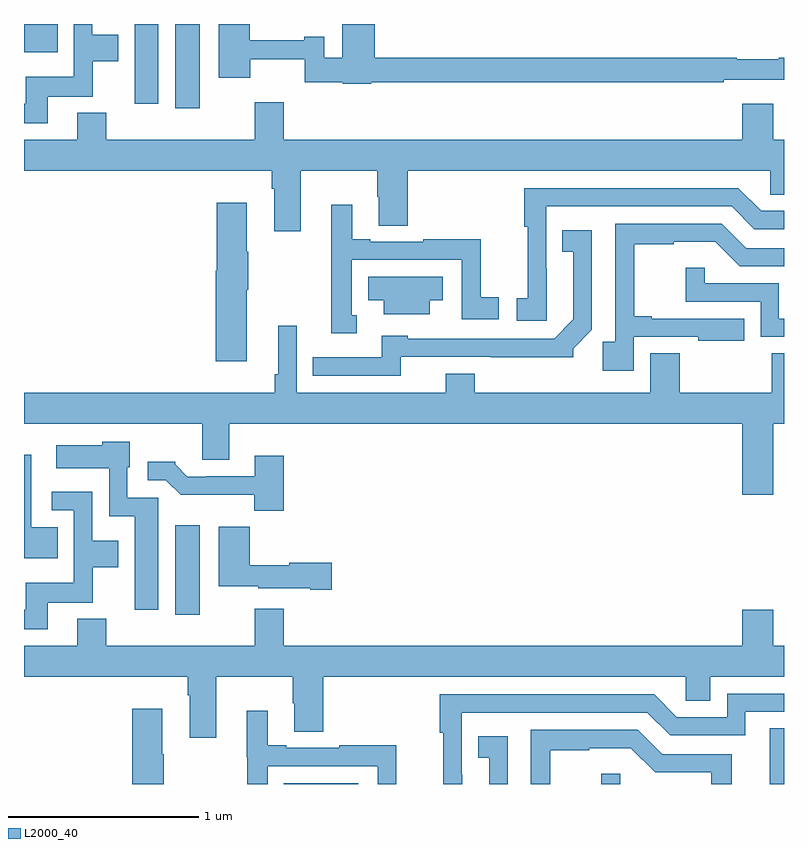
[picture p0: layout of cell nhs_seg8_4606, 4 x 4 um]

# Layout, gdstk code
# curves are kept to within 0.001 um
import gdstk
lib = gdstk.Library(unit=1e-6, precision=1e-09)
def R(c, l, rs):  # rectangles x0, y0, x1, y1
    for r in rs: c.add(gdstk.rectangle(r[:2], r[2:], *l))
def P(c, l, *ps):  # polygons
    for p in ps: c.add(gdstk.Polygon(p, *l))
L2000_40 = (2000, 40)

nhs_seg8_4606 = lib.new_cell('nhs_seg8_4606')
R(nhs_seg8_4606, L2000_40, [(390.367,1151.9,390.76,1151.905), (392.038,1151.9,392.139,1151.953), (389.795,1152.792,389.926,1153.261), (389.795,1155.456,389.926,1155.9), (389.582,1155.48,389.707,1155.9), (389,1155.752,389.177,1155.9)])
P(nhs_seg8_4606, L2000_40, [(390.828,1155.594),(392.684,1155.594),(392.684,1155.606),(393,1155.606),(393,1155.722),(392.973,1155.722),(392.973,1155.715),(392.751,1155.715),(392.751,1155.722),(390.845,1155.722),(390.845,1155.9),(390.674,1155.9),(390.674,1155.722),(390.579,1155.722),(390.579,1155.833),(390.476,1155.833),(390.476,1155.815),(390.188,1155.815),(390.188,1155.9),(390.026,1155.9),(390.026,1155.618),(390.19,1155.618),(390.19,1155.715),(390.478,1155.715),(390.478,1155.594),(390.678,1155.594),(390.678,1155.586),(390.828,1155.586)],
  [(389.125,1155.518),(389.361,1155.518),(389.361,1155.704),(389.497,1155.704),(389.497,1155.844),(389.358,1155.844),(389.358,1155.9),(389.262,1155.9),(389.262,1155.622),(389.009,1155.622),(389.009,1155.48),(389,1155.48),(389,1155.378),(389.125,1155.378)],
  [(390.457,1155.128),(390.859,1155.128),(390.859,1154.99),(390.866,1154.99),(390.866,1154.839),(391.019,1154.839),(391.019,1155.128),(392.928,1155.128),(392.928,1155.001),(393,1155.001),(393,1155.292),(392.944,1155.292),(392.944,1155.481),(392.78,1155.481),(392.78,1155.292),(390.368,1155.292),(390.368,1155.487),(390.215,1155.487),(390.215,1155.292),(389.432,1155.292),(389.432,1155.433),(389.279,1155.433),(389.279,1155.292),(389,1155.292),(389,1155.128),(390.305,1155.128),(390.305,1155.032),(390.317,1155.032),(390.317,1154.808),(390.457,1154.808)],
  [(391.75,1154.612),(391.749,1154.94),(392.724,1154.94),(392.844,1154.82),(393,1154.82),(393,1154.916),(392.88,1154.916),(392.76,1155.036),(391.633,1155.036),(391.633,1154.833),(391.651,1154.833),(391.651,1154.457),(391.593,1154.457),(391.593,1154.337),(391.75,1154.337)],
  [(390.172,1154.501),(390.18,1154.501),(390.18,1154.701),(390.172,1154.701),(390.172,1154.959),(390.014,1154.959),(390.014,1154.601),(390.008,1154.601),(390.008,1154.124),(390.172,1154.124)],
  [(390.751,1154.367),(390.726,1154.367),(390.726,1154.658),(391.305,1154.658),(391.305,1154.346),(391.498,1154.346),(391.498,1154.462),(391.404,1154.462),(391.404,1154.767),(391.102,1154.767),(391.102,1154.754),(390.823,1154.754),(390.823,1154.767),(390.727,1154.767),(390.727,1154.95),(390.617,1154.95),(390.617,1154.705),(390.618,1154.705),(390.618,1154.273),(390.751,1154.273)],
  [(392.208,1154.253),(392.549,1154.253),(392.549,1154.234),(392.792,1154.234),(392.792,1154.349),(392.305,1154.349),(392.305,1154.362),(392.213,1154.362),(392.213,1154.742),(392.42,1154.742),(392.42,1154.753),(392.638,1154.753),(392.766,1154.625),(393,1154.625),(393,1154.721),(392.802,1154.721),(392.673,1154.85),(392.112,1154.85),(392.112,1154.227),(392.047,1154.227),(392.047,1154.076),(392.208,1154.076)],
  [(390.984,1154.148),(391.89,1154.147),(391.89,1154.191),(391.989,1154.29),(391.989,1154.815),(391.834,1154.815),(391.834,1154.702),(391.892,1154.702),(391.892,1154.345),(391.791,1154.244),(391.02,1154.244),(391.02,1154.26),(390.884,1154.26),(390.884,1154.145),(390.52,1154.145),(390.52,1154.049),(390.984,1154.049)],
  [(393,1154.349),(392.973,1154.349),(392.973,1154.535),(392.583,1154.535),(392.583,1154.617),(392.482,1154.617),(392.482,1154.439),(392.877,1154.439),(392.877,1154.253),(393,1154.253)],
  [(391.135,1154.447),(391.204,1154.447),(391.204,1154.569),(390.811,1154.569),(390.811,1154.447),(390.893,1154.447),(390.893,1154.372),(391.135,1154.372)],
  [(389,1153.796),(389.939,1153.796),(389.939,1153.606),(390.079,1153.606),(390.079,1153.796),(392.78,1153.796),(392.78,1153.422),(392.944,1153.422),(392.944,1153.796),(393,1153.796),(393,1154.168),(392.936,1154.168),(392.936,1153.96),(392.45,1153.96),(392.45,1154.168),(392.297,1154.168),(392.297,1153.96),(391.373,1153.96),(391.373,1154.059),(391.22,1154.059),(391.22,1153.96),(390.435,1153.96),(390.435,1154.311),(390.338,1154.311),(390.338,1154.056),(390.319,1154.056),(390.319,1153.96),(389,1153.96)],
  [(389.707,1153.407),(389.544,1153.407),(389.544,1153.566),(389.557,1153.566),(389.557,1153.702),(389.412,1153.702),(389.412,1153.684),(389.169,1153.684),(389.169,1153.562),(389.448,1153.562),(389.448,1153.31),(389.582,1153.31),(389.582,1152.816),(389.707,1152.816)],
  [(389.177,1153.252),(389.038,1153.252),(389.038,1153.633),(389,1153.633),(389,1153.088),(389.177,1153.088)],
  [(390.368,1153.627),(390.215,1153.627),(390.215,1153.521),(389.959,1153.521),(389.959,1153.518),(389.86,1153.518),(389.796,1153.582),(389.796,1153.597),(389.652,1153.597),(389.652,1153.5),(389.745,1153.5),(389.824,1153.422),(390.213,1153.422),(390.213,1153.337),(390.368,1153.337)],
  [(389.125,1152.854),(389.361,1152.854),(389.361,1153.04),(389.497,1153.04),(389.497,1153.18),(389.358,1153.18),(389.358,1153.437),(389.145,1153.437),(389.145,1153.341),(389.262,1153.341),(389.262,1152.958),(389.009,1152.958),(389.009,1152.816),(389,1152.816),(389,1152.714),(389.125,1152.714)],
  [(390.619,1153.064),(390.396,1153.064),(390.396,1153.051),(390.188,1153.051),(390.188,1153.255),(390.026,1153.255),(390.026,1152.941),(390.234,1152.941),(390.234,1152.929),(390.506,1152.929),(390.506,1152.922),(390.619,1152.922)],
  [(390.013,1152.464),(390.415,1152.464),(390.415,1152.326),(390.422,1152.326),(390.422,1152.175),(390.575,1152.175),(390.575,1152.464),(392.484,1152.464),(392.484,1152.337),(392.611,1152.337),(392.611,1152.464),(393,1152.464),(393,1152.628),(392.944,1152.628),(392.944,1152.817),(392.78,1152.817),(392.78,1152.628),(390.368,1152.628),(390.368,1152.823),(390.215,1152.823),(390.215,1152.628),(389.432,1152.628),(389.432,1152.769),(389.279,1152.769),(389.279,1152.628),(389,1152.628),(389,1152.464),(389.861,1152.464),(389.861,1152.368),(389.873,1152.368),(389.873,1152.144),(390.013,1152.144)],
  [(391.306,1151.948),(391.305,1152.276),(392.28,1152.276),(392.4,1152.156),(392.796,1152.156),(392.796,1152.279),(393,1152.279),(393,1152.375),(392.7,1152.375),(392.7,1152.252),(392.436,1152.252),(392.316,1152.372),(391.189,1152.372),(391.189,1152.169),(391.207,1152.169),(391.207,1151.9),(391.306,1151.9)],
  [(389.736,1152.056),(389.728,1152.056),(389.728,1152.295),(389.57,1152.295),(389.57,1151.9),(389.736,1151.9)],
  [(390.282,1151.994),(390.861,1151.994),(390.861,1151.9),(390.96,1151.9),(390.96,1152.103),(390.658,1152.103),(390.658,1152.09),(390.379,1152.09),(390.379,1152.103),(390.283,1152.103),(390.283,1152.286),(390.173,1152.286),(390.173,1152.041),(390.174,1152.041),(390.174,1151.9),(390.282,1151.9)],
  [(393,1152.194),(392.926,1152.194),(392.926,1152.083),(392.924,1152.083),(392.924,1151.9),(393,1151.9)],
  [(391.769,1152.078),(391.976,1152.078),(391.976,1152.089),(392.194,1152.089),(392.322,1151.961),(392.618,1151.961),(392.618,1151.9),(392.725,1151.9),(392.725,1152.057),(392.358,1152.057),(392.229,1152.186),(391.668,1152.186),(391.668,1151.9),(391.769,1151.9)],
  [(391.545,1152.151),(391.39,1152.151),(391.39,1152.038),(391.448,1152.038),(391.448,1151.9),(391.545,1151.9)])

lib.write_gds('nhs_seg8_4606.gds')
